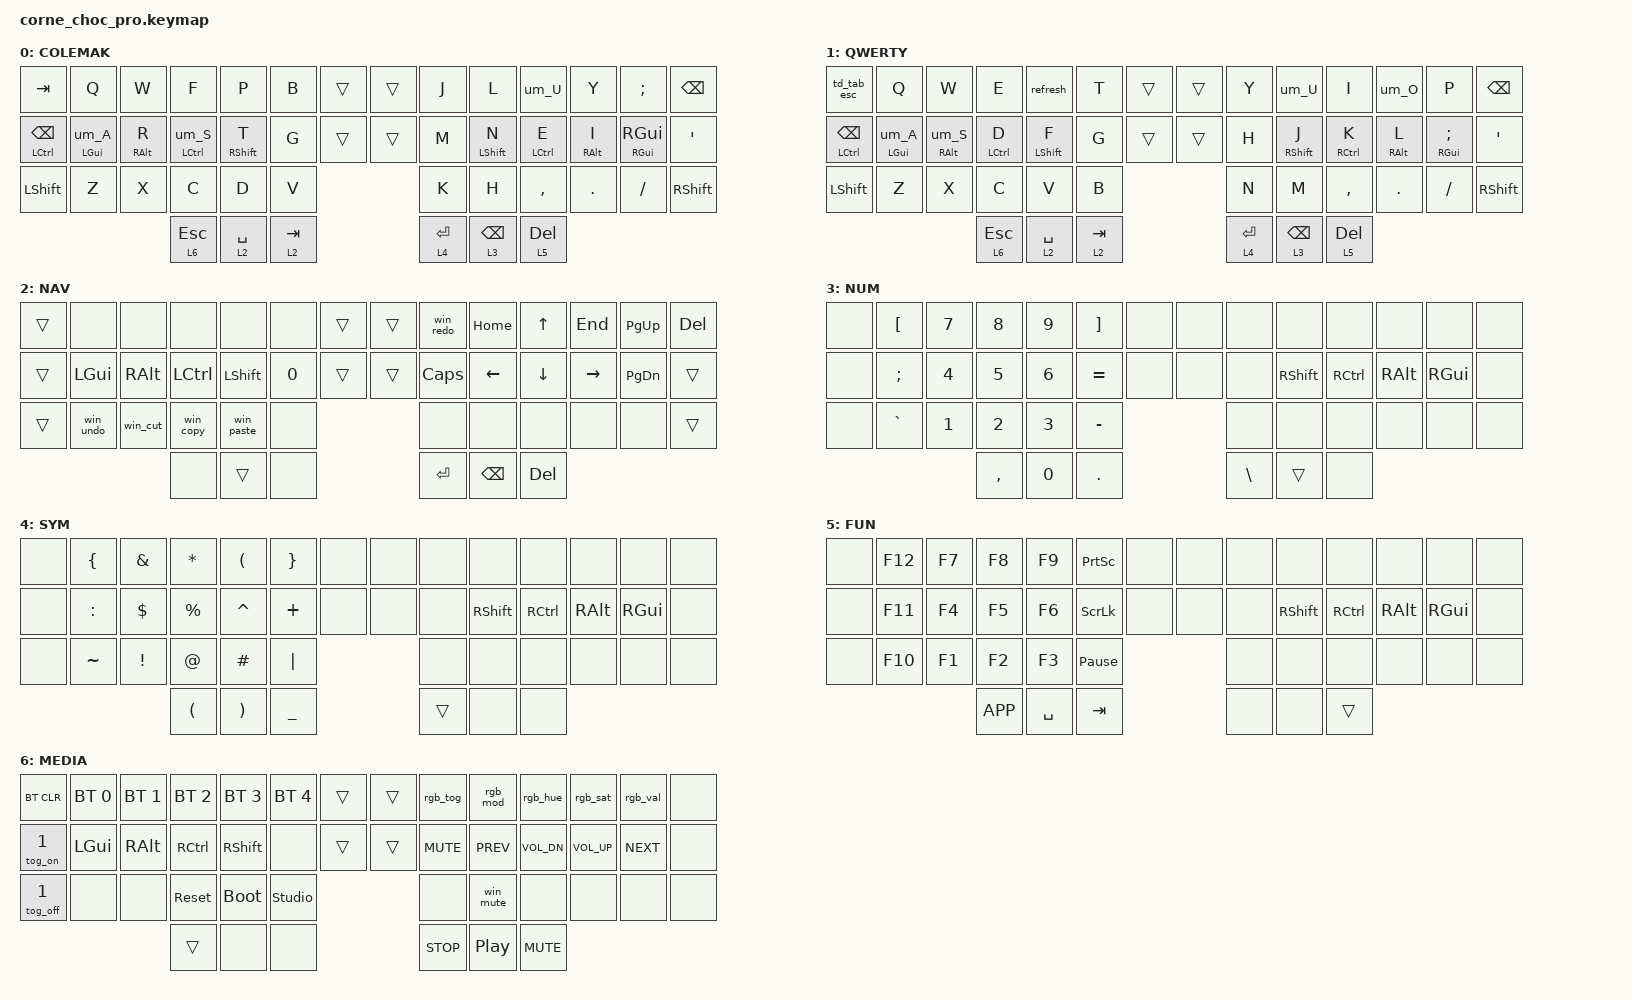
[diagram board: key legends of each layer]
/*
 * Copyright (c) 2020 The ZMK Contributors
 *
 * SPDX-License-Identifier: MIT
 */

#include <behaviors.dtsi>
#include <dt-bindings/zmk/bt.h>
#include <dt-bindings/zmk/keys.h>
#include <dt-bindings/zmk/rgb.h>

/ {
    chosen { zmk,physical-layout = &default_layout; };
};

/ {
    behaviors {
        um_A: um_A {
            compatible = "zmk,behavior-mod-morph";
            label = "UM_A";
            bindings = <&kp A>, <&kp RA(Q)>;

            #binding-cells = <0>;
            mods = <(MOD_RALT)>;
            keep-mods = <(MOD_RALT)>;
        };

        um_S: um_S {
            compatible = "zmk,behavior-mod-morph";
            label = "UM_S";
            bindings = <&kp S>, <&kp RA(S)>;

            #binding-cells = <0>;
            mods = <(MOD_RALT)>;
            keep-mods = <(MOD_RALT)>;
        };

        um_U: um_U {
            compatible = "zmk,behavior-mod-morph";
            label = "UM_U";
            bindings = <&kp U>, <&kp RA(Y)>;

            #binding-cells = <0>;
            mods = <(MOD_RALT)>;
            keep-mods = <(MOD_RALT)>;
        };

        um_O: um_O {
            compatible = "zmk,behavior-mod-morph";
            label = "UM_O";
            bindings = <&kp O>, <&kp RA(P)>;

            #binding-cells = <0>;
            mods = <(MOD_RALT)>;
            keep-mods = <(MOD_RALT)>;
        };

        sf: space_fn {
            compatible = "zmk,behavior-hold-tap";
            label = "SPACE_FN";
            bindings = <&mo>, <&kp>;

            #binding-cells = <2>;
            tapping-term-ms = <150>;
            flavor = "balanced";
        };

        tog_on: toggle_layer_on_only {
            compatible = "zmk,behavior-toggle-layer";
            label = "TOG_ON";
            #binding-cells = <1>;
        };

        tog_off: toggle_layer_off_only {
            compatible = "zmk,behavior-toggle-layer";
            label = "TOG_OFF";
            #binding-cells = <1>;
            toggle-mode = "off";
        };

        hold_tap: hold_tap {
            compatible = "zmk,behavior-hold-tap";
            label = "HOLD_TAP";
            bindings = <&kp>, <&kp>;

            #binding-cells = <2>;
            tapping-term-ms = <150>;
            flavor = "tap-preferred";
        };

        td_tab_esc: td_tab_esc {
            compatible = "zmk,behavior-tap-dance";
            label = "TD_TAB_ESC";
            #binding-cells = <0>;
            bindings = <&kp TAB>, <&kp ESC>;
        };

        quit: quit_programm {
            compatible = "zmk,behavior-mod-morph";
            label = "QUIT";
            bindings = <&kp Q>, <&kp LA(F4)>;

            #binding-cells = <0>;
            mods = <(MOD_LALT)>;
        };

        refresh: refresh {
            compatible = "zmk,behavior-mod-morph";
            label = "REFRESH";
            bindings = <&kp R>, <&kp F5>;

            #binding-cells = <0>;
            mods = <(MOD_LCTL)>;
        };

        hml: hml {
            compatible = "zmk,behavior-hold-tap";
            label = "HML";
            bindings = <&kp>, <&kp>;

            #binding-cells = <2>;
            hold-trigger-key-positions = <39 7 21 22 23 24 25 26 27 34 35 36 37 38 39 43 44 45 8 9 10 11 12 13>;
            flavor = "balanced";
            hold-trigger-on-release;
            require-prior-idle-ms = <125>;
            quick-tap-ms = <175>;
            tapping-term-ms = <280>;
        };

        hmr: hmr {
            compatible = "zmk,behavior-hold-tap";
            label = "HMR";
            bindings = <&kp>, <&kp>;

            #binding-cells = <2>;
            flavor = "balanced";
            hold-trigger-on-release;
            require-prior-idle-ms = <125>;
            quick-tap-ms = <175>;
            tapping-term-ms = <280>;
            hold-trigger-key-positions = <0 1 2 3 4 5 6 14 15 16 17 18 19 20 28 29 30 31 32 33 40 41 42>;
        };

        hml_a: hml_a {
            compatible = "zmk,behavior-hold-tap";
            label = "HML_A";
            bindings = <&kp>, <&um_A>;

            #binding-cells = <2>;
            hold-trigger-key-positions = <39 7 21 22 23 24 25 26 27 34 35 36 37 38 39 43 44 45 8 9 10 11 12 13>;
            flavor = "balanced";
            hold-trigger-on-release;
            require-prior-idle-ms = <125>;
            quick-tap-ms = <175>;
            tapping-term-ms = <280>;
        };

        hml_s: hml_s {
            compatible = "zmk,behavior-hold-tap";
            label = "HML_S";
            bindings = <&kp>, <&um_S>;

            #binding-cells = <2>;
            hold-trigger-key-positions = <39 7 21 22 23 24 25 26 27 34 35 36 37 38 39 43 44 45 8 9 10 11 12 13>;
            flavor = "balanced";
            hold-trigger-on-release;
            require-prior-idle-ms = <125>;
            quick-tap-ms = <175>;
            tapping-term-ms = <280>;
        };

        hmr_o: hmr_o {
            compatible = "zmk,behavior-hold-tap";
            label = "HMR_O";
            bindings = <&kp>, <&um_O>;

            #binding-cells = <2>;
            flavor = "balanced";
            hold-trigger-on-release;
            require-prior-idle-ms = <125>;
            quick-tap-ms = <175>;
            tapping-term-ms = <280>;
            hold-trigger-key-positions = <0 1 2 3 4 5 6 14 15 16 17 18 19 20 28 29 30 31 32 33 40 41 42>;
        };

        rgb_tog: rgb_tog {
            compatible = "zmk,behavior-mod-morph";
            label = "RGB_TOG";
            bindings = <&rgb_ug RGB_TOG>, <&rgb_ug RGB_OFF>;

            #binding-cells = <0>;
            mods = <(MOD_RSFT|MOD_LSFT)>;
            keep-mods = <(MOD_LSFT|MOD_RSFT)>;
        };

        rgb_mod: rgb_mod {
            compatible = "zmk,behavior-mod-morph";
            label = "RGB_MOD";
            bindings = <&rgb_ug RGB_EFF>, <&rgb_ug RGB_EFR>;

            #binding-cells = <0>;
            mods = <(MOD_RSFT|MOD_LSFT)>;
            keep-mods = <(MOD_LSFT|MOD_RSFT)>;
        };

        rgb_hue: rgb_hue {
            compatible = "zmk,behavior-mod-morph";
            label = "RGB_HUE";
            bindings = <&rgb_ug RGB_HUI>, <&rgb_ug RGB_HUD>;

            #binding-cells = <0>;
            mods = <(MOD_RSFT|MOD_LSFT)>;
            keep-mods = <(MOD_LSFT|MOD_RSFT)>;
        };

        rgb_sat: rgb_sat {
            compatible = "zmk,behavior-mod-morph";
            label = "RGB_SAT";
            bindings = <&rgb_ug RGB_SAI>, <&rgb_ug RGB_SAD>;

            #binding-cells = <0>;
            mods = <(MOD_RSFT|MOD_LSFT)>;
            keep-mods = <(MOD_LSFT|MOD_RSFT)>;
        };

        rgb_val: rgb_val {
            compatible = "zmk,behavior-mod-morph";
            label = "RGB_VAL";
            bindings = <&rgb_ug RGB_SPI>, <&rgb_ug RGB_SPD>;

            #binding-cells = <0>;
            mods = <(MOD_RSFT|MOD_LSFT)>;
            keep-mods = <(MOD_LSFT|MOD_RSFT)>;
        };
    };

    macros {
        win_mute: win_mute {
            compatible = "zmk,behavior-macro";
            #binding-cells = <0>;
            bindings = <&kp LA(LG(K))>;
            label = "WIN_MUTE";
        };

        win_copy: copy {
            compatible = "zmk,behavior-macro";
            #binding-cells = <0>;
            bindings = <&kp RC(C)>;
            label = "COPY";
        };

        win_paste: win_paste {
            compatible = "zmk,behavior-macro";
            #binding-cells = <0>;
            bindings = <&kp RC(V)>;
            label = "WIN_PASTE";
        };

        win_undo: win_undo {
            compatible = "zmk,behavior-macro";
            #binding-cells = <0>;
            bindings = <&kp RC(Z)>;
            label = "WIN_UNDO";
        };

        win_redo: win_redo {
            compatible = "zmk,behavior-macro";
            #binding-cells = <0>;
            bindings = <&kp RC(Y)>;
            label = "WIN_REDO";
        };

        win_cut: win_cut {
            compatible = "zmk,behavior-macro";
            #binding-cells = <0>;
            bindings = <&kp RC(X)>;
            label = "WIN_CUT";
        };
    };

    keymap {
        compatible = "zmk,keymap";

        colemak_layer {
            bindings = <
&kp TAB                           &kp Q          &kp W             &kp F           &kp P          &kp B      &trans  &trans  &kp J        &kp L            &um_U         &kp Y             &kp SEMI               &kp BSPC
&hold_tap LEFT_CONTROL BACKSPACE  &hml_a LGUI 0  &hml RIGHT_ALT R  &hml_s LCTRL 0  &hml RSHIFT T  &kp G      &trans  &trans  &kp M        &hmr LSHIFT N    &hmr LCTRL E  &hmr RIGHT_ALT I  &hmr_o RGUI RIGHT_GUI  &kp SQT
&kp LEFT_SHIFT                    &kp Z          &kp X             &kp C           &kp D          &kp V                      &kp K        &kp H            &kp COMMA     &kp DOT           &kp FSLH               &kp RSHFT
                                                                   &lt 6 ESC       &lt 2 SPACE    &lt 2 TAB                  &lt 4 ENTER  &lt 3 BACKSPACE  &lt 5 DEL
            >;

            label = "COLEMAK";
        };

        qwerty_layer {
            display-name = "QWERTY";

            // --------------------------------------------------------------------------------
            // |  TAB |  Q  |  W  |  E  |  R  |  T  |  MUTE |  PP   |  Y  |  U   |  I  |  O  |  P  | BSPC |
            // | CTRL |  A  |  S  |  D  |  F  |  G  |  LALT |  RALT |  H  |  J   |  K  |  L  |  ;  |  '   |
            // | SHFT |  Z  |  X  |  C  |  V  |  B  |               |  N  |  M   |  ,  |  .  |  /  | ESC  |
            //                    | GUI | LWR | SPC |               | ENT | RSE  | ALT |

            bindings = <
&td_tab_esc                       &kp Q          &kp W               &kp E         &refresh       &kp T      &trans  &trans  &kp Y        &um_U            &kp I         &um_O             &kp P           &kp BSPC
&hold_tap LEFT_CONTROL BACKSPACE  &hml_a LGUI 0  &hml_s RIGHT_ALT 0  &hml LCTRL D  &hml LSHIFT F  &kp G      &trans  &trans  &kp H        &hmr RSHIFT J    &hmr RCTRL K  &hmr RIGHT_ALT L  &hmr RGUI SEMI  &kp SQT
&kp LEFT_SHIFT                    &kp Z          &kp X               &kp C         &kp V          &kp B                      &kp N        &kp M            &kp COMMA     &kp DOT           &kp FSLH        &kp RSHFT
                                                                     &lt 6 ESC     &lt 2 SPACE    &lt 2 TAB                  &lt 4 ENTER  &lt 3 BACKSPACE  &lt 5 DEL
            >;
        };

        navigation_layer {
            display-name = "NAV";
            bindings = <
&trans  &none      &none     &none      &none       &none   &trans  &trans  &win_redo  &kp HOME       &kp UP    &kp END    &kp PG_UP  &kp DELETE
&trans  &kp LGUI   &kp RALT  &kp LCTRL  &kp LSHFT   &kp N0  &trans  &trans  &kp CAPS   &kp LEFT       &kp DOWN  &kp RIGHT  &kp PG_DN  &trans
&trans  &win_undo  &win_cut  &win_copy  &win_paste  &none                   &none      &none          &none     &none      &none      &trans
                             &none      &trans      &none                   &kp ENTER  &kp BACKSPACE  &kp DEL
            >;
        };

        num_layer {
            display-name = "NUM";
            bindings = <
&none  &kp LEFT_BRACKET  &kp N7  &kp N8     &kp N9  &kp RIGHT_BRACKET  &none  &none  &none          &none       &none      &none     &none     &none
&none  &kp SEMI          &kp N4  &kp N5     &kp N6  &kp EQUAL          &none  &none  &none          &kp RSHIFT  &kp RCTRL  &kp RALT  &kp RGUI  &none
&none  &kp GRAVE         &kp N1  &kp N2     &kp N3  &kp MINUS                        &none          &none       &none      &none     &none     &none
                                 &kp COMMA  &kp N0  &kp DOT                          &kp BACKSLASH  &trans      &none
            >;
        };

        sym_layer {
            display-name = "SYM";
            bindings = <
&none  &kp LBRC   &kp AMPS  &kp ASTERISK  &kp LPAR   &kp RBRC   &none  &none  &none   &none       &none      &none     &none     &none
&none  &kp COLON  &kp DLLR  &kp PRCNT     &kp CARET  &kp PLUS   &none  &none  &none   &kp RSHIFT  &kp RCTRL  &kp RALT  &kp RGUI  &none
&none  &kp TILDE  &kp EXCL  &kp AT        &kp HASH   &kp PIPE                 &none   &none       &none      &none     &none     &none
                            &kp LPAR      &kp RPAR   &kp UNDER                &trans  &none       &none
            >;
        };

        fun_layer {
            display-name = "FUN";
            bindings = <
&none  &kp F12  &kp F7  &kp F8     &kp F9     &kp PRINTSCREEN  &none  &none  &none  &none       &none      &none     &none     &none
&none  &kp F11  &kp F4  &kp F5     &kp F6     &kp SCROLLLOCK   &none  &none  &none  &kp RSHIFT  &kp RCTRL  &kp RALT  &kp RGUI  &none
&none  &kp F10  &kp F1  &kp F2     &kp F3     &kp PAUSE_BREAK                &none  &none       &none      &none     &none     &none
                        &kp K_APP  &kp SPACE  &kp TAB                        &none  &none       &trans
            >;
        };

        media_layer {
            display-name = "MEDIA";
            bindings = <
&bt BT_CLR  &bt BT_SEL 0  &bt BT_SEL 1  &bt BT_SEL 2  &bt BT_SEL 3  &bt BT_SEL 4    &trans  &trans  &rgb_tog    &rgb_mod          &rgb_hue      &rgb_sat      &rgb_val    &none
&tog_on 1   &kp LGUI      &kp RALT      &kp RCTRL     &kp RSHFT     &none           &trans  &trans  &kp C_MUTE  &kp C_PREV        &kp C_VOL_DN  &kp C_VOL_UP  &kp C_NEXT  &none
&tog_off 1  &none         &none         &sys_reset    &bootloader   &studio_unlock                  &none       &win_mute         &none         &none         &none       &none
                                        &trans        &none         &none                           &kp C_STOP  &kp C_PLAY_PAUSE  &kp C_MUTE
            >;
        };
    };

    conditional_layers { compatible = "zmk,conditional-layers"; };
};
